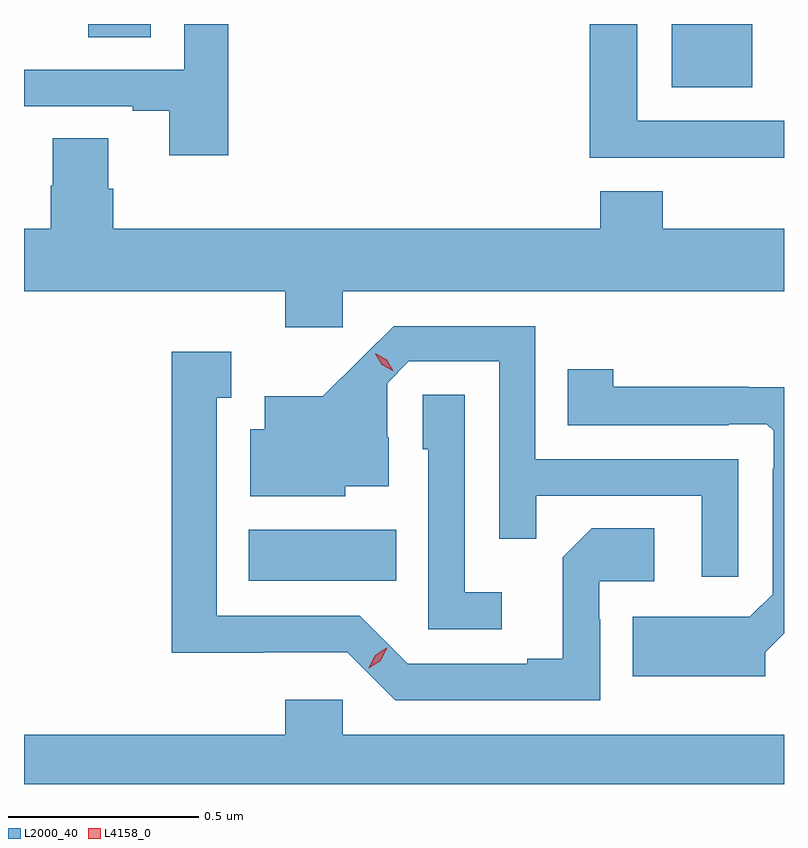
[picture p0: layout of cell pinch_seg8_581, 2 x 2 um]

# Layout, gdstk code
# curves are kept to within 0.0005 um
import gdstk
lib = gdstk.Library(unit=1e-6, precision=1e-09)
def R(c, l, rs):  # rectangles x0, y0, x1, y1
    for r in rs: c.add(gdstk.rectangle(r[:2], r[2:], *l))
def P(c, l, *ps):  # polygons
    for p in ps: c.add(gdstk.Polygon(p, *l))
L2000_40 = (2000, 40)
L4158_0 = (4158, 0)

pinch_seg8_581 = lib.new_cell('pinch_seg8_581')
R(pinch_seg8_581, L2000_40, [(160.235,1102.418,160.622,1102.552), (161.348,1103.717,161.56,1103.883), (159.812,1103.848,159.976,1103.883)])
P(pinch_seg8_581, L2000_40, [(161.643,1103.628),(161.257,1103.628),(161.257,1103.883),(161.132,1103.883),(161.132,1103.531),(161.643,1103.531)],
  [(160.181,1103.883),(160.065,1103.883),(160.065,1103.763),(159.643,1103.763),(159.643,1103.667),(159.929,1103.667),(159.929,1103.655),(160.025,1103.655),(160.025,1103.538),(160.181,1103.538)],
  [(160.482,1103.18),(161.643,1103.18),(161.643,1103.344),(161.324,1103.344),(161.324,1103.443),(161.159,1103.443),(161.159,1103.344),(159.878,1103.344),(159.878,1103.45),(159.865,1103.45),(159.865,1103.582),(159.718,1103.582),(159.718,1103.457),(159.713,1103.457),(159.713,1103.344),(159.643,1103.344),(159.643,1103.18),(160.331,1103.18),(160.331,1103.085),(160.482,1103.085)],
  [(161.523,1102.737),(160.989,1102.737),(160.989,1103.088),(160.616,1103.088),(160.429,1102.903),(160.277,1102.903),(160.277,1102.816),(160.238,1102.816),(160.238,1102.64),(160.488,1102.64),(160.488,1102.667),(160.603,1102.667),(160.603,1102.796),(160.599,1102.796),(160.599,1102.938),(160.656,1102.995),(160.893,1102.995),(160.893,1102.528),(160.991,1102.528),(160.991,1102.641),(161.427,1102.641),(161.427,1102.428),(161.523,1102.428)],
  [(161.16,1102.316),(161.157,1102.316),(161.157,1102.416),(161.302,1102.416),(161.302,1102.556),(161.137,1102.556),(161.061,1102.48),(161.061,1102.213),(160.967,1102.213),(160.967,1102.2),(160.653,1102.2),(160.527,1102.326),(160.15,1102.326),(160.15,1102.899),(160.189,1102.899),(160.189,1103.02),(160.032,1103.02),(160.032,1102.229),(160.272,1102.229),(160.272,1102.23),(160.494,1102.23),(160.62,1102.104),(161.16,1102.104)],
  [(161.593,1102.23),(161.643,1102.28),(161.643,1102.927),(161.549,1102.927),(161.549,1102.928),(161.193,1102.928),(161.193,1102.975),(161.074,1102.975),(161.074,1102.827),(161.498,1102.827),(161.498,1102.83),(161.598,1102.83),(161.616,1102.812),(161.616,1102.712),(161.613,1102.712),(161.613,1102.383),(161.553,1102.323),(161.245,1102.323),(161.245,1102.166),(161.593,1102.166)],
  [(160.9,1102.387),(160.803,1102.387),(160.803,1102.907),(160.692,1102.907),(160.692,1102.764),(160.707,1102.764),(160.707,1102.29),(160.9,1102.29)],
  [(161.643,1102.012),(160.482,1102.012),(160.482,1102.105),(160.331,1102.105),(160.331,1102.012),(159.643,1102.012),(159.643,1101.883),(161.643,1101.883)])
P(pinch_seg8_581, L4158_0, [(160.614,1102.97),(160.584,1102.986),(160.567,1103.015),(160.567,1103.016),(160.567,1103.016),(160.598,1103),(160.615,1102.97),(160.615,1102.97)],
  [(160.55,1102.188),(160.55,1102.189),(160.567,1102.222),(160.598,1102.241),(160.599,1102.241),(160.599,1102.241),(160.582,1102.208),(160.55,1102.188)])

lib.write_gds('pinch_seg8_581.gds')
